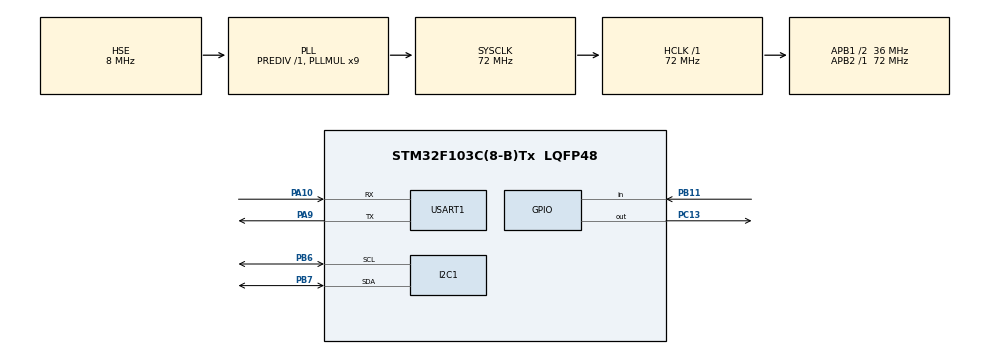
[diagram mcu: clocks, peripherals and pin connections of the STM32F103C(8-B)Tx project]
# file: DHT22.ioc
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Mcu.Family=STM32F1
Mcu.Name=STM32F103C(8-B)Tx
Mcu.Package=LQFP48
NVIC.PriorityGroup=NVIC_PRIORITYGROUP_4
PA10.Mode=Asynchronous
PA10.Signal=USART1_RX
PA13.Mode=Trace_Asynchronous_SW
PA13.Signal=SYS_JTMS-SWDIO
PA14.Mode=Trace_Asynchronous_SW
PA14.Signal=SYS_JTCK-SWCLK
PA9.Mode=Asynchronous
PA9.Signal=USART1_TX
PB11.Signal=GPIO_Input
PB3.Mode=Trace_Asynchronous_SW
PB3.Signal=SYS_JTDO-TRACESWO
PB6.Mode=I2C
PB6.Signal=I2C1_SCL
PB7.Mode=I2C
PB7.Signal=I2C1_SDA
PC13-TAMPER-RTC.GPIO_Speed=GPIO_SPEED_FREQ_MEDIUM
PC13-TAMPER-RTC.Signal=GPIO_Output
PD0-OSC_IN.Mode=HSE-External-Oscillator
PD0-OSC_IN.Signal=RCC_OSC_IN
PD1-OSC_OUT.Mode=HSE-External-Oscillator
PD1-OSC_OUT.Signal=RCC_OSC_OUT
ProjectManager.HeapSize=0x200
ProjectManager.StackSize=0x400
ProjectManager.TargetToolchain=MDK-ARM V5
RCC.AHBFreq_Value=72000000
RCC.APB1CLKDivider=RCC_HCLK_DIV2
RCC.APB1Freq_Value=36000000
RCC.APB1TimFreq_Value=72000000
RCC.APB2Freq_Value=72000000
RCC.APB2TimFreq_Value=72000000
RCC.HCLKFreq_Value=72000000
RCC.PLLMUL=RCC_PLL_MUL9
RCC.PLLSourceVirtual=RCC_PLLSOURCE_HSE
RCC.SYSCLKFreq_VALUE=72000000
RCC.SYSCLKSource=RCC_SYSCLKSOURCE_PLLCLK
RCC.USBFreq_Value=72000000
USART1.VirtualMode=VM_ASYNC
board=DHT22

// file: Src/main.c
/* USER CODE BEGIN Header */
/**
  ******************************************************************************
  * @file           : main.c
  * @brief          : Main program body
  ******************************************************************************
  * @attention
  *
  * <h2><center>&copy; Copyright (c) 2020 STMicroelectronics.
  * All rights reserved.</center></h2>
  *
  * This software component is licensed by ST under BSD 3-Clause license,
  * the "License"; You may not use this file except in compliance with the
  * License. You may obtain a copy of the License at:
  *                        opensource.org/licenses/BSD-3-Clause
  *
  ******************************************************************************
  */
/* USER CODE END Header */
#include "main.h"
#include "i2c.h"
#include "usart.h"
#include "gpio.h"

/* USER CODE BEGIN Includes */
#include "lcd.h"
#include <stdlib.h>
#include <stdio.h>
/* USER CODE END Includes */

/* USER CODE BEGIN PV */
/* Private variables ---------------------------------------------------------*/

/* USER CODE END PV */

void SystemClock_Config(void);
/* USER CODE BEGIN PFP */
/* Private function prototypes -----------------------------------------------*/

/* USER CODE END PFP */

int main(void)
{
  /* USER CODE BEGIN 1 */
	uint8_t data[5];
	float Temperat, Humidity;

	char str[100];
	char str1[100];
  /* USER CODE END 1 */

  /* MCU Configuration--------------------------------------------------------*/

  /* Reset of all peripherals, Initializes the Flash interface and the Systick. */
  HAL_Init();

  /* Configure the system clock */
  SystemClock_Config();

  /* Initialize all configured peripherals */
  MX_GPIO_Init();
  MX_USART1_UART_Init();
  MX_I2C1_Init();
  /* USER CODE BEGIN 2 */
	port_init();
	dht22_init();

  LCD_init();
	sprintf(str,"Hello my friend!");
	LCD_String(str);
	LCD_SetPos(0, 1);
	HAL_Delay(3000);

	LCD_Clear();
	LCD_init();
	LCD_SetPos(0, 0);
	sprintf(str,"NR.electronics");
	LCD_String(str);

  sprintf(str,";-)  ");
	LCD_SetPos(0, 1);
	LCD_String(str);
	HAL_Delay(3000);

	LCD_Clear();
	LCD_init();
  /* USER CODE END 2 */

  /* Infinite loop */
  while (1)
  {

    /* USER CODE BEGIN 3 */
		if(dht22_GetData(data))
		{
			Temperat = (float)((*(uint16_t*)(data+1)) & 0x3FFF) / 10;
			if((*(uint16_t*)(data+1)) & 0x8000) Temperat *= -1.0;
			Humidity = (float)(*(int16_t*)(data+3)) / 10;
			sprintf(str1,"Humidity: %.1f, Temperat: %.1f\r\n", Humidity, Temperat);
			HAL_UART_Transmit(&huart1,(uint8_t*)str1,strlen(str1),0x1000);
		}
			LCD_SetPos(0, 0);
			sprintf(str1,"Humidity: %g",Humidity);
			LCD_String(str1);
			LCD_SetPos(15, 0);
			LCD_SendChar('%');
			LCD_String(str1);
			LCD_SetPos(0, 1);
			sprintf(str1,"Temperat: %g",Temperat);//Temperat
			LCD_String(str1);
			LCD_SetPos(15, 1);
			LCD_SendChar('C');
			LCD_String(str1);
		  HAL_Delay(1000);

  }
  /* USER CODE END 3 */
}

void SystemClock_Config(void)
{
  RCC_OscInitTypeDef RCC_OscInitStruct = {0};
  RCC_ClkInitTypeDef RCC_ClkInitStruct = {0};

  /** Initializes the RCC Oscillators according to the specified parameters
  * in the RCC_OscInitTypeDef structure.
  */
  RCC_OscInitStruct.OscillatorType = RCC_OSCILLATORTYPE_HSE;
  RCC_OscInitStruct.HSEState = RCC_HSE_ON;
  RCC_OscInitStruct.HSEPredivValue = RCC_HSE_PREDIV_DIV1;
  RCC_OscInitStruct.HSIState = RCC_HSI_ON;
  RCC_OscInitStruct.PLL.PLLState = RCC_PLL_ON;
  RCC_OscInitStruct.PLL.PLLSource = RCC_PLLSOURCE_HSE;
  RCC_OscInitStruct.PLL.PLLMUL = RCC_PLL_MUL9;
  if (HAL_RCC_OscConfig(&RCC_OscInitStruct) != HAL_OK)
  {
    Error_Handler();
  }
  /** Initializes the CPU, AHB and APB buses clocks
  */
  RCC_ClkInitStruct.ClockType = RCC_CLOCKTYPE_HCLK|RCC_CLOCKTYPE_SYSCLK
                              |RCC_CLOCKTYPE_PCLK1|RCC_CLOCKTYPE_PCLK2;
  RCC_ClkInitStruct.SYSCLKSource = RCC_SYSCLKSOURCE_PLLCLK;
  RCC_ClkInitStruct.AHBCLKDivider = RCC_SYSCLK_DIV1;
  RCC_ClkInitStruct.APB1CLKDivider = RCC_HCLK_DIV2;
  RCC_ClkInitStruct.APB2CLKDivider = RCC_HCLK_DIV1;

  if (HAL_RCC_ClockConfig(&RCC_ClkInitStruct, FLASH_LATENCY_2) != HAL_OK)
  {
    Error_Handler();
  }
}

void Error_Handler(void)
{
  while(1)
  {
  }
}

/************************ (C) COPYRIGHT STMicroelectronics *****END OF FILE****/
